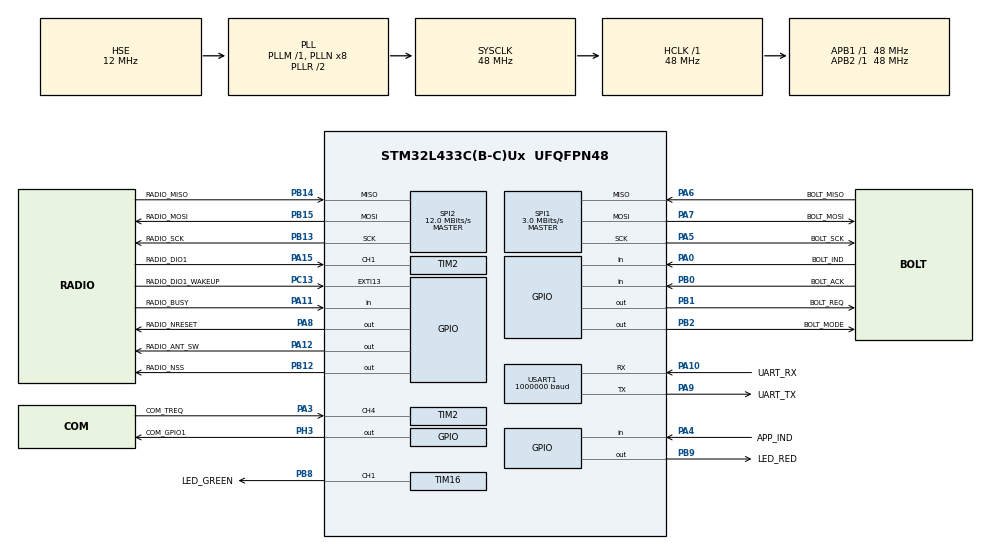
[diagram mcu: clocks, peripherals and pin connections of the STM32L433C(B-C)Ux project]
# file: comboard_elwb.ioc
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Dma.Request0=USART1_RX
Dma.Request1=USART1_TX
Dma.USART1_RX.0.Direction=DMA_PERIPH_TO_MEMORY
Dma.USART1_RX.0.Instance=DMA1_Channel5
Dma.USART1_RX.0.MemDataAlignment=DMA_MDATAALIGN_BYTE
Dma.USART1_RX.0.MemInc=DMA_MINC_ENABLE
Dma.USART1_RX.0.Mode=DMA_CIRCULAR
Dma.USART1_RX.0.PeriphDataAlignment=DMA_PDATAALIGN_BYTE
Dma.USART1_RX.0.PeriphInc=DMA_PINC_DISABLE
Dma.USART1_RX.0.Priority=DMA_PRIORITY_MEDIUM
Dma.USART1_TX.1.Direction=DMA_MEMORY_TO_PERIPH
Dma.USART1_TX.1.Instance=DMA1_Channel4
Dma.USART1_TX.1.MemDataAlignment=DMA_MDATAALIGN_BYTE
Dma.USART1_TX.1.MemInc=DMA_MINC_ENABLE
Dma.USART1_TX.1.Mode=DMA_NORMAL
Dma.USART1_TX.1.PeriphDataAlignment=DMA_PDATAALIGN_BYTE
Dma.USART1_TX.1.PeriphInc=DMA_PINC_DISABLE
Dma.USART1_TX.1.Priority=DMA_PRIORITY_MEDIUM
FREERTOS.HEAP_NUMBER=1
FREERTOS.INCLUDE_uxTaskGetStackHighWaterMark=1
FREERTOS.INCLUDE_vTaskDelete=0
FREERTOS.INCLUDE_xTaskGetCurrentTaskHandle=1
FREERTOS.MEMORY_ALLOCATION=0
FREERTOS.Tasks01=defaultTask,0,256,StartDefaultTask,Default,NULL,Dynamic,NULL,NULL
FREERTOS.configCHECK_FOR_STACK_OVERFLOW=1
FREERTOS.configGENERATE_RUN_TIME_STATS=0
FREERTOS.configMINIMAL_STACK_SIZE=256
FREERTOS.configTICK_RATE_HZ=1000
FREERTOS.configTOTAL_HEAP_SIZE=16384
FREERTOS.configUSE_IDLE_HOOK=1
FREERTOS.configUSE_MALLOC_FAILED_HOOK=1
FREERTOS.configUSE_PREEMPTION=0
FREERTOS.configUSE_STATS_FORMATTING_FUNCTIONS=0
FREERTOS.configUSE_TICKLESS_IDLE=1
FREERTOS.configUSE_TICK_HOOK=0
FREERTOS.configUSE_TRACE_FACILITY=0
IWDG.Prescaler=IWDG_PRESCALER_128
Mcu.Family=STM32L4
Mcu.Name=STM32L433C(B-C)Ux
Mcu.Package=UFQFPN48
NVIC.DMA1_Channel4_IRQn=true\:5\:0\:true\:false\:true\:true\:false\:true
NVIC.DMA1_Channel5_IRQn=true\:5\:0\:true\:false\:true\:true\:false\:true
NVIC.EXTI15_10_IRQn=true\:5\:0\:false\:false\:true\:true\:true\:true
NVIC.LPTIM1_IRQn=true\:5\:0\:false\:false\:true\:true\:true\:true
NVIC.PriorityGroup=NVIC_PRIORITYGROUP_4
NVIC.SPI1_IRQn=true\:5\:0\:false\:false\:true\:true\:true\:true
NVIC.SPI2_IRQn=true\:5\:0\:false\:false\:true\:true\:true\:true
NVIC.TIM1_UP_TIM16_IRQn=true\:0\:0\:false\:false\:true\:false\:false\:true
NVIC.TIM2_IRQn=true\:5\:0\:true\:false\:true\:true\:true\:true
NVIC.TimeBase=TIM1_UP_TIM16_IRQn
NVIC.TimeBaseIP=TIM1
NVIC.USART1_IRQn=true\:5\:0\:false\:false\:true\:true\:true\:true
PA0.GPIO_Label=BOLT_IND
PA0.Signal=GPIO_Input
PA10.GPIO_Label=UART_RX
PA10.GPIO_PuPd=GPIO_PULLUP
PA10.Mode=Asynchronous
PA10.Signal=USART1_RX
PA11.GPIO_Label=RADIO_BUSY
PA11.Signal=GPIO_Input
PA12.GPIO_Label=RADIO_ANT_SW
PA12.GPIO_Speed=GPIO_SPEED_FREQ_HIGH
PA12.PinState=GPIO_PIN_SET
PA12.Signal=GPIO_Output
PA13\ (JTMS-SWDIO).GPIO_Label=COM_PROG2
PA13\ (JTMS-SWDIO).Mode=Trace_Asynchronous_SW
PA13\ (JTMS-SWDIO).Signal=SYS_JTMS-SWDIO
PA14\ (JTCK-SWCLK).GPIO_Label=COM_PROG
PA14\ (JTCK-SWCLK).Mode=Trace_Asynchronous_SW
PA14\ (JTCK-SWCLK).Signal=SYS_JTCK-SWCLK
PA15\ (JTDI).GPIO_Label=RADIO_DIO1
PA15\ (JTDI).Signal=S_TIM2_CH1
PA3.GPIO_Label=COM_TREQ
PA3.GPIO_PuPd=GPIO_PULLDOWN
PA3.Signal=S_TIM2_CH4
PA4.GPIO_Label=APP_IND
PA4.GPIO_PuPd=GPIO_NOPULL
PA4.Signal=GPIO_Input
PA5.GPIO_Label=BOLT_SCK
PA5.GPIO_PuPd=GPIO_PULLDOWN
PA5.Mode=Full_Duplex_Master
PA5.Signal=SPI1_SCK
PA6.GPIO_Label=BOLT_MISO
PA6.GPIO_PuPd=GPIO_PULLDOWN
PA6.Mode=Full_Duplex_Master
PA6.Signal=SPI1_MISO
PA7.GPIO_Label=BOLT_MOSI
PA7.GPIO_PuPd=GPIO_PULLDOWN
PA7.Mode=Full_Duplex_Master
PA7.Signal=SPI1_MOSI
PA8.GPIO_Label=RADIO_NRESET
PA8.GPIO_ModeDefaultOutputPP=GPIO_MODE_OUTPUT_PP
PA8.GPIO_PuPd=GPIO_NOPULL
PA8.GPIO_Speed=GPIO_SPEED_FREQ_HIGH
PA8.PinState=GPIO_PIN_SET
PA8.Signal=GPIO_Output
PA9.GPIO_Label=UART_TX
PA9.GPIO_PuPd=GPIO_PULLUP
PA9.Mode=Asynchronous
PA9.Signal=USART1_TX
PB0.GPIO_Label=BOLT_ACK
PB0.GPIO_PuPd=GPIO_NOPULL
PB0.Signal=GPIO_Input
PB1.GPIO_Label=BOLT_REQ
PB1.GPIO_PuPd=GPIO_NOPULL
PB1.GPIO_Speed=GPIO_SPEED_FREQ_VERY_HIGH
PB1.Signal=GPIO_Output
PB12.GPIO_Label=RADIO_NSS
PB12.GPIO_PuPd=GPIO_NOPULL
PB12.GPIO_Speed=GPIO_SPEED_FREQ_VERY_HIGH
PB12.PinState=GPIO_PIN_SET
PB12.Signal=GPIO_Output
PB13.GPIO_Label=RADIO_SCK
PB13.GPIO_PuPd=GPIO_PULLDOWN
PB13.Mode=Full_Duplex_Master
PB13.Signal=SPI2_SCK
PB14.GPIO_Label=RADIO_MISO
PB14.GPIO_PuPd=GPIO_PULLDOWN
PB14.Mode=Full_Duplex_Master
PB14.Signal=SPI2_MISO
PB15.GPIO_Label=RADIO_MOSI
PB15.GPIO_PuPd=GPIO_PULLDOWN
PB15.Mode=Full_Duplex_Master
PB15.Signal=SPI2_MOSI
PB2.GPIO_Label=BOLT_MODE
PB2.GPIO_PuPd=GPIO_NOPULL
PB2.GPIO_Speed=GPIO_SPEED_FREQ_VERY_HIGH
PB2.Signal=GPIO_Output
PB3\ (JTDO-TRACESWO).GPIO_Label=COM_GPIO2
PB3\ (JTDO-TRACESWO).Mode=Trace_Asynchronous_SW
PB3\ (JTDO-TRACESWO).Signal=SYS_JTDO-SWO
PB8.GPIO_Label=LED_GREEN
PB8.Signal=S_TIM16_CH1
PB9.GPIO_Label=LED_RED
PB9.Signal=GPIO_Output
PC13.GPIO_Label=RADIO_DIO1_WAKEUP
PC13.Signal=GPXTI13
PC14-OSC32_IN\ (PC14).Mode=LSE-External-Oscillator
PC14-OSC32_IN\ (PC14).Signal=RCC_OSC32_IN
PC15-OSC32_OUT\ (PC15).Mode=LSE-External-Oscillator
PC15-OSC32_OUT\ (PC15).Signal=RCC_OSC32_OUT
PH0-OSC_IN\ (PH0).Mode=HSE-External-Oscillator
PH0-OSC_IN\ (PH0).Signal=RCC_OSC_IN
PH1-OSC_OUT\ (PH1).Mode=HSE-External-Oscillator
PH1-OSC_OUT\ (PH1).Signal=RCC_OSC_OUT
PH3-BOOT0.GPIO_Label=COM_GPIO1
PH3-BOOT0.Signal=GPIO_Output
ProjectManager.HeapSize=0x200
ProjectManager.StackSize=0x400
ProjectManager.TargetToolchain=STM32CubeIDE
RCC.ADCFreq_Value=48000000
RCC.AHBFreq_Value=48000000
RCC.APB1Freq_Value=48000000
RCC.APB1TimFreq_Value=48000000
RCC.APB2Freq_Value=48000000
RCC.APB2TimFreq_Value=48000000
RCC.CortexFreq_Value=48000000
RCC.HCLKFreq_Value=48000000
RCC.HSE_Timout=300
RCC.HSE_VALUE=12000000
RCC.HSI48_VALUE=48000000
RCC.HSI_VALUE=16000000
RCC.LPTIM1CLockSelection=RCC_LPTIM1CLKSOURCE_LSE
RCC.LSE_Drive_Capability=RCC_LSEDRIVE_LOW
RCC.MSI_VALUE=4000000
RCC.PLLSourceVirtual=RCC_PLLSOURCE_HSE
RCC.PREFETCH_ENABLE=0
RCC.RTCClockSelection=RCC_RTCCLKSOURCE_LSE
RCC.SYSCLKFreq_VALUE=48000000
RCC.SYSCLKSource=RCC_SYSCLKSOURCE_PLLCLK
RCC.USART1CLockSelection=RCC_USART1CLKSOURCE_HSI
RCC.USBFreq_Value=48000000
RCC.VCOOutputFreq_Value=96000000
RCC.VDD_VALUE=3
SH.S_TIM16_CH1.0=TIM16_CH1,PWM Generation1 CH1
SH.S_TIM2_CH1.0=TIM2_CH1,Input_Capture1_from_TI1
SH.S_TIM2_CH4.0=TIM2_CH4,Input_Capture4_from_TI4
SPI1.BaudRatePrescaler=SPI_BAUDRATEPRESCALER_16
SPI1.CalculateBaudRate=3.0 MBits/s
SPI1.DataSize=SPI_DATASIZE_8BIT
SPI1.Direction=SPI_DIRECTION_2LINES
SPI1.Mode=SPI_MODE_MASTER
SPI1.VirtualType=VM_MASTER
SPI2.BaudRatePrescaler=SPI_BAUDRATEPRESCALER_4
SPI2.CalculateBaudRate=12.0 MBits/s
SPI2.DataSize=SPI_DATASIZE_8BIT
SPI2.Direction=SPI_DIRECTION_2LINES
SPI2.Mode=SPI_MODE_MASTER
SPI2.VirtualType=VM_MASTER
TIM16.AutoReloadPreload=TIM_AUTORELOAD_PRELOAD_ENABLE
TIM16.Channel=TIM_CHANNEL_1
TIM16.OCIdleState_1=TIM_OCIDLESTATE_RESET
TIM16.Period=1024
TIM16.Prescaler=2 - 1
TIM2.Channel-Input_Capture1_from_TI1=TIM_CHANNEL_1
TIM2.Channel-Input_Capture4_from_TI4=TIM_CHANNEL_4
TIM2.Channel-Output\ Compare2\ No\ Output=TIM_CHANNEL_2
TIM2.Channel-Output\ Compare3\ No\ Output=TIM_CHANNEL_3
TIM2.Period=0xFFFFFFFF
TIM2.Prescaler=5
TIM2.Pulse-Output\ Compare2\ No\ Output=0xFFFFFFFF
TIM2.Pulse-Output\ Compare3\ No\ Output=0xFFFFFFFF
USART1.BaudRate=1000000
USART1.OverSampling=UART_OVERSAMPLING_16
USART1.SwapParam=ADVFEATURE_SWAP_DISABLE
USART1.VirtualMode-Asynchronous=VM_ASYNC
USART1.WordLength=WORDLENGTH_8B
VP_FREERTOS_VS_CMSIS_V1.Mode=CMSIS_V1
VP_IWDG_VS_IWDG.Mode=IWDG_Activate
VP_LPTIM1_VS_LPTIM_counterModeInternalClock.Mode=Counts__internal_clock_event_00
VP_RTC_VS_RTC_Activate.Mode=RTC_Enabled
VP_SYS_VS_tim1.Mode=TIM1
VP_TIM16_VS_ClockSourceINT.Mode=Enable_Timer
VP_TIM2_VS_ClockSourceINT.Mode=Internal
VP_TIM2_VS_no_output2.Mode=Output Compare2 No Output
VP_TIM2_VS_no_output3.Mode=Output Compare3 No Output
board=gloriaLwb_comboard

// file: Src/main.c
/* USER CODE BEGIN Header */
/**
  ******************************************************************************
  * @file           : main.c
  * @brief          : Main program body
  ******************************************************************************
  * @attention
  *
  * <h2><center>&copy; Copyright (c) 2019 STMicroelectronics.
  * All rights reserved.</center></h2>
  *
  * This software component is licensed by ST under Ultimate Liberty license
  * SLA0044, the "License"; You may not use this file except in compliance with
  * the License. You may obtain a copy of the License at:
  *                             www.st.com/SLA0044
  *
  ******************************************************************************
  */
/* USER CODE END Header */

#include "main.h"
#include "cmsis_os.h"

IWDG_HandleTypeDef hiwdg;

LPTIM_HandleTypeDef hlptim1;

RTC_HandleTypeDef hrtc;

SPI_HandleTypeDef hspi1;
SPI_HandleTypeDef hspi2;

TIM_HandleTypeDef htim2;
TIM_HandleTypeDef htim16;

UART_HandleTypeDef huart1;
DMA_HandleTypeDef hdma_usart1_rx;
DMA_HandleTypeDef hdma_usart1_tx;

osThreadId defaultTaskHandle;
/* USER CODE BEGIN PV */

nv_config_t config;

/* USER CODE END PV */

void SystemClock_Config(void);
static void MX_GPIO_Init(void);
static void MX_DMA_Init(void);
static void MX_SPI2_Init(void);
static void MX_SPI1_Init(void);
static void MX_USART1_UART_Init(void);
static void MX_TIM2_Init(void);
static void MX_TIM16_Init(void);
static void MX_LPTIM1_Init(void);
static void MX_IWDG_Init(void);
static void MX_RTC_Init(void);
void StartDefaultTask(void const * argument);

/* USER CODE BEGIN 0 */
void load_config(void)
{
  /* load the config struct */
  if (!nvcfg_load(&config) || config.node_id == 0 || config.node_id == FLOCKLAB_NODE_ID || (config.node_id != NODE_ID && NODE_ID != 0 && NODE_ID != FLOCKLAB_NODE_ID)) {
    LOG_WARNING("failed to load config (default config applied)");
    memset(&config, 0, sizeof(nv_config_t));
    config.node_id = NODE_ID;
  } else {
    LOG_INFO("config loaded (node ID: %u, reset cnt: %u, bb sched: %u/%u)", config.node_id, config.rst_cnt, config.bb_en.starttime, config.bb_en.period);
    config.rst_cnt++;
  }
#if WRITE_NODE_ID
  config.node_id = NODE_ID;
  LOG_INFO("node ID set to %d", NODE_ID);
#endif /* WRITE_NODE_ID */
  if (!nvcfg_save(&config)) {
    LOG_ERROR("failed to save config");
  }
}

bool deepsleep_prepare(void)
{
#if BOLT_ENABLE
  /* configure BOLT TREQ in EXTI mode */
  GPIO_InitTypeDef GPIO_InitStruct = { 0 };
  GPIO_InitStruct.Pin = COM_TREQ_Pin;
  GPIO_InitStruct.Mode = GPIO_MODE_IT_RISING;
  GPIO_InitStruct.Pull = GPIO_PULLDOWN;
  HAL_GPIO_Init(COM_TREQ_GPIO_Port, &GPIO_InitStruct);
  HAL_NVIC_SetPriority(EXTI3_IRQn, 5, 0);
  HAL_NVIC_EnableIRQ(EXTI3_IRQn);
#endif /* BOLT_ENABLE */

  return true;
}

void deepsleep_wakeup(void)
{
#if BOLT_ENABLE
  /* disable BOLT TREQ EXTI */
  HAL_NVIC_DisableIRQ(EXTI3_IRQn);
  __HAL_GPIO_EXTI_CLEAR_IT(COM_TREQ_Pin);
#endif /* BOLT_ENABLE */
}
/* USER CODE END 0 */

int main(void)
{
  /* USER CODE BEGIN 1 */

  system_boot();

  /* USER CODE END 1 */

  /* MCU Configuration--------------------------------------------------------*/

  /* Reset of all peripherals, Initializes the Flash interface and the Systick. */
  HAL_Init();

  /* Configure the system clock */
  SystemClock_Config();

  /* Initialize all configured peripherals */
  MX_GPIO_Init();
  MX_DMA_Init();
  MX_SPI2_Init();
  MX_SPI1_Init();
  MX_USART1_UART_Init();
  MX_TIM2_Init();
  MX_TIM16_Init();
  MX_LPTIM1_Init();
  MX_IWDG_Init();
  MX_RTC_Init();
  /* USER CODE BEGIN 2 */

  /* print firmware and compiler info as well as the node ID */
  LOG_RAW(LOG_NEWLINE);
  LOG_INFO("firmware: %s v%u.%u.%u (%s)", FW_NAME, FW_VERSION_MAJOR, FW_VERSION_MINOR, FW_VERSION_PATCH, GIT_REV);
  LOG_INFO("compiler version: %s", __VERSION__);
  LOG_INFO("compile date: %s  %s", __DATE__, __TIME__);
  LOG_INFO("node ID: %u", NODE_ID);
  LOG_INFO("reset flag: %s", system_get_reset_cause(0));
  LOG_INFO("radio config: %.3fMHz (ch %d), modulation %d, %ddBm", (float)(radio_bands[GLORIA_INTERFACE_RF_BAND].centerFrequency / 1000000.0f), GLORIA_INTERFACE_RF_BAND, GLORIA_INTERFACE_MODULATION, GLORIA_INTERFACE_POWER);

#if !FLOCKLAB
  load_config();
#endif /* FLOCKLAB */

  /* set event target depending on role */
  if (EVENT_MSG_TARGET == EVENT_MSG_TARGET_NETWORK)
  {
    /* host should never send events to the network */
    set_event_target(IS_HOST ? EVENT_MSG_TARGET_BOLT : EVENT_MSG_TARGET_NETWORK);
  }
  else
  {
    set_event_target(EVENT_MSG_TARGET);
  }

  /* initialize system drivers */
  system_init();

  /* initialize state machine for handling low-power modes */
  lpm_init(deepsleep_prepare, deepsleep_wakeup);

  /* USER CODE END 2 */

  /* Create the thread(s) */
  /* definition and creation of defaultTask */
  osThreadDef(defaultTask, StartDefaultTask, osPriorityNormal, 0, 256);
  defaultTaskHandle = osThreadCreate(osThread(defaultTask), NULL);

  /* USER CODE BEGIN RTOS_THREADS */
  /* FreeRTOS tasks, queues, etc. */
  rtos_init();

  /* USER CODE END RTOS_THREADS */

  /* Start scheduler */
  osKernelStart();

  /* We should never get here as control is now taken by the scheduler */
  /* Infinite loop */
  while (1)
  {
  }

}

void SystemClock_Config(void)
{
  RCC_OscInitTypeDef RCC_OscInitStruct = {0};
  RCC_ClkInitTypeDef RCC_ClkInitStruct = {0};
  RCC_PeriphCLKInitTypeDef PeriphClkInit = {0};

  /** Configure LSE Drive Capability
  */
  HAL_PWR_EnableBkUpAccess();
  __HAL_RCC_LSEDRIVE_CONFIG(RCC_LSEDRIVE_LOW);
  /** Initializes the CPU, AHB and APB busses clocks
  */
  RCC_OscInitStruct.OscillatorType = RCC_OSCILLATORTYPE_HSI|RCC_OSCILLATORTYPE_LSI
                              |RCC_OSCILLATORTYPE_HSE|RCC_OSCILLATORTYPE_LSE;
  RCC_OscInitStruct.HSEState = RCC_HSE_ON;
  RCC_OscInitStruct.LSEState = RCC_LSE_ON;
  RCC_OscInitStruct.HSIState = RCC_HSI_ON;
  RCC_OscInitStruct.HSICalibrationValue = RCC_HSICALIBRATION_DEFAULT;
  RCC_OscInitStruct.LSIState = RCC_LSI_ON;
  RCC_OscInitStruct.PLL.PLLState = RCC_PLL_ON;
  RCC_OscInitStruct.PLL.PLLSource = RCC_PLLSOURCE_HSE;
  RCC_OscInitStruct.PLL.PLLM = 1;
  RCC_OscInitStruct.PLL.PLLN = 8;
  RCC_OscInitStruct.PLL.PLLP = RCC_PLLP_DIV7;
  RCC_OscInitStruct.PLL.PLLQ = RCC_PLLQ_DIV2;
  RCC_OscInitStruct.PLL.PLLR = RCC_PLLR_DIV2;
  if (HAL_RCC_OscConfig(&RCC_OscInitStruct) != HAL_OK)
  {
    Error_Handler();
  }
  /** Initializes the CPU, AHB and APB busses clocks
  */
  RCC_ClkInitStruct.ClockType = RCC_CLOCKTYPE_HCLK|RCC_CLOCKTYPE_SYSCLK
                              |RCC_CLOCKTYPE_PCLK1|RCC_CLOCKTYPE_PCLK2;
  RCC_ClkInitStruct.SYSCLKSource = RCC_SYSCLKSOURCE_PLLCLK;
  RCC_ClkInitStruct.AHBCLKDivider = RCC_SYSCLK_DIV1;
  RCC_ClkInitStruct.APB1CLKDivider = RCC_HCLK_DIV1;
  RCC_ClkInitStruct.APB2CLKDivider = RCC_HCLK_DIV1;

  if (HAL_RCC_ClockConfig(&RCC_ClkInitStruct, FLASH_LATENCY_2) != HAL_OK)
  {
    Error_Handler();
  }
  PeriphClkInit.PeriphClockSelection = RCC_PERIPHCLK_RTC|RCC_PERIPHCLK_USART1
                              |RCC_PERIPHCLK_LPTIM1;
  PeriphClkInit.Usart1ClockSelection = RCC_USART1CLKSOURCE_HSI;
  PeriphClkInit.Lptim1ClockSelection = RCC_LPTIM1CLKSOURCE_LSE;
  PeriphClkInit.RTCClockSelection = RCC_RTCCLKSOURCE_LSE;
  if (HAL_RCCEx_PeriphCLKConfig(&PeriphClkInit) != HAL_OK)
  {
    Error_Handler();
  }
  /** Configure the main internal regulator output voltage
  */
  if (HAL_PWREx_ControlVoltageScaling(PWR_REGULATOR_VOLTAGE_SCALE1) != HAL_OK)
  {
    Error_Handler();
  }
}

static void MX_IWDG_Init(void)
{

  hiwdg.Instance = IWDG;
  hiwdg.Init.Prescaler = IWDG_PRESCALER_128;
  hiwdg.Init.Window = 4095;
  hiwdg.Init.Reload = 4095;
  if (HAL_IWDG_Init(&hiwdg) != HAL_OK)
  {
    Error_Handler();
  }

}

static void MX_LPTIM1_Init(void)
{

  hlptim1.Instance = LPTIM1;
  hlptim1.Init.Clock.Source = LPTIM_CLOCKSOURCE_APBCLOCK_LPOSC;
  hlptim1.Init.Clock.Prescaler = LPTIM_PRESCALER_DIV1;
  hlptim1.Init.Trigger.Source = LPTIM_TRIGSOURCE_SOFTWARE;
  hlptim1.Init.OutputPolarity = LPTIM_OUTPUTPOLARITY_HIGH;
  hlptim1.Init.UpdateMode = LPTIM_UPDATE_IMMEDIATE;
  hlptim1.Init.CounterSource = LPTIM_COUNTERSOURCE_INTERNAL;
  hlptim1.Init.Input1Source = LPTIM_INPUT1SOURCE_GPIO;
  hlptim1.Init.Input2Source = LPTIM_INPUT2SOURCE_GPIO;
  if (HAL_LPTIM_Init(&hlptim1) != HAL_OK)
  {
    Error_Handler();
  }
  /* USER CODE BEGIN LPTIM1_Init 2 */
  __HAL_LPTIM_ENABLE_IT(&hlptim1, LPTIM_IT_CMPM);     /* must be enabled before starting the timer */
  HAL_LPTIM_Counter_Start_IT(&hlptim1, 0xffff);
  /* USER CODE END LPTIM1_Init 2 */

}

static void MX_RTC_Init(void)
{

  /** Initialize RTC Only
  */
  hrtc.Instance = RTC;
  hrtc.Init.HourFormat = RTC_HOURFORMAT_24;
  hrtc.Init.AsynchPrediv = 127;
  hrtc.Init.SynchPrediv = 255;
  hrtc.Init.OutPut = RTC_OUTPUT_DISABLE;
  hrtc.Init.OutPutRemap = RTC_OUTPUT_REMAP_NONE;
  hrtc.Init.OutPutPolarity = RTC_OUTPUT_POLARITY_HIGH;
  hrtc.Init.OutPutType = RTC_OUTPUT_TYPE_OPENDRAIN;
  if (HAL_RTC_Init(&hrtc) != HAL_OK)
  {
    Error_Handler();
  }

}

static void MX_SPI1_Init(void)
{

  /* SPI1 parameter configuration*/
  hspi1.Instance = SPI1;
  hspi1.Init.Mode = SPI_MODE_MASTER;
  hspi1.Init.Direction = SPI_DIRECTION_2LINES;
  hspi1.Init.DataSize = SPI_DATASIZE_8BIT;
  hspi1.Init.CLKPolarity = SPI_POLARITY_LOW;
  hspi1.Init.CLKPhase = SPI_PHASE_1EDGE;
  hspi1.Init.NSS = SPI_NSS_SOFT;
  hspi1.Init.BaudRatePrescaler = SPI_BAUDRATEPRESCALER_16;
  hspi1.Init.FirstBit = SPI_FIRSTBIT_MSB;
  hspi1.Init.TIMode = SPI_TIMODE_DISABLE;
  hspi1.Init.CRCCalculation = SPI_CRCCALCULATION_DISABLE;
  hspi1.Init.CRCPolynomial = 7;
  hspi1.Init.CRCLength = SPI_CRC_LENGTH_DATASIZE;
  hspi1.Init.NSSPMode = SPI_NSS_PULSE_ENABLE;
  if (HAL_SPI_Init(&hspi1) != HAL_OK)
  {
    Error_Handler();
  }

}

static void MX_SPI2_Init(void)
{

  /* SPI2 parameter configuration*/
  hspi2.Instance = SPI2;
  hspi2.Init.Mode = SPI_MODE_MASTER;
  hspi2.Init.Direction = SPI_DIRECTION_2LINES;
  hspi2.Init.DataSize = SPI_DATASIZE_8BIT;
  hspi2.Init.CLKPolarity = SPI_POLARITY_LOW;
  hspi2.Init.CLKPhase = SPI_PHASE_1EDGE;
  hspi2.Init.NSS = SPI_NSS_SOFT;
  hspi2.Init.BaudRatePrescaler = SPI_BAUDRATEPRESCALER_4;
  hspi2.Init.FirstBit = SPI_FIRSTBIT_MSB;
  hspi2.Init.TIMode = SPI_TIMODE_DISABLE;
  hspi2.Init.CRCCalculation = SPI_CRCCALCULATION_DISABLE;
  hspi2.Init.CRCPolynomial = 7;
  hspi2.Init.CRCLength = SPI_CRC_LENGTH_DATASIZE;
  hspi2.Init.NSSPMode = SPI_NSS_PULSE_ENABLE;
  if (HAL_SPI_Init(&hspi2) != HAL_OK)
  {
    Error_Handler();
  }

}

static void MX_TIM2_Init(void)
{

  TIM_ClockConfigTypeDef sClockSourceConfig = {0};
  TIM_MasterConfigTypeDef sMasterConfig = {0};
  TIM_IC_InitTypeDef sConfigIC = {0};
  TIM_OC_InitTypeDef sConfigOC = {0};

  htim2.Instance = TIM2;
  htim2.Init.Prescaler = 5;
  htim2.Init.CounterMode = TIM_COUNTERMODE_UP;
  htim2.Init.Period = 0xFFFFFFFF;
  htim2.Init.ClockDivision = TIM_CLOCKDIVISION_DIV1;
  htim2.Init.AutoReloadPreload = TIM_AUTORELOAD_PRELOAD_DISABLE;
  if (HAL_TIM_Base_Init(&htim2) != HAL_OK)
  {
    Error_Handler();
  }
  sClockSourceConfig.ClockSource = TIM_CLOCKSOURCE_INTERNAL;
  if (HAL_TIM_ConfigClockSource(&htim2, &sClockSourceConfig) != HAL_OK)
  {
    Error_Handler();
  }
  if (HAL_TIM_IC_Init(&htim2) != HAL_OK)
  {
    Error_Handler();
  }
  if (HAL_TIM_OC_Init(&htim2) != HAL_OK)
  {
    Error_Handler();
  }
  sMasterConfig.MasterOutputTrigger = TIM_TRGO_RESET;
  sMasterConfig.MasterSlaveMode = TIM_MASTERSLAVEMODE_DISABLE;
  if (HAL_TIMEx_MasterConfigSynchronization(&htim2, &sMasterConfig) != HAL_OK)
  {
    Error_Handler();
  }
  sConfigIC.ICPolarity = TIM_INPUTCHANNELPOLARITY_RISING;
  sConfigIC.ICSelection = TIM_ICSELECTION_DIRECTTI;
  sConfigIC.ICPrescaler = TIM_ICPSC_DIV1;
  sConfigIC.ICFilter = 0;
  if (HAL_TIM_IC_ConfigChannel(&htim2, &sConfigIC, TIM_CHANNEL_1) != HAL_OK)
  {
    Error_Handler();
  }
  sConfigOC.OCMode = TIM_OCMODE_TIMING;
  sConfigOC.Pulse = 0xFFFFFFFF;
  sConfigOC.OCPolarity = TIM_OCPOLARITY_HIGH;
  sConfigOC.OCFastMode = TIM_OCFAST_DISABLE;
  if (HAL_TIM_OC_ConfigChannel(&htim2, &sConfigOC, TIM_CHANNEL_2) != HAL_OK)
  {
    Error_Handler();
  }
  if (HAL_TIM_OC_ConfigChannel(&htim2, &sConfigOC, TIM_CHANNEL_3) != HAL_OK)
  {
    Error_Handler();
  }
  if (HAL_TIM_IC_ConfigChannel(&htim2, &sConfigIC, TIM_CHANNEL_4) != HAL_OK)
  {
    Error_Handler();
  }
  /* USER CODE BEGIN TIM2_Init 2 */
  __HAL_TIM_ENABLE_IT(&htim2, TIM_IT_UPDATE);
  /* USER CODE END TIM2_Init 2 */

}

static void MX_TIM16_Init(void)
{

  TIM_OC_InitTypeDef sConfigOC = {0};
  TIM_BreakDeadTimeConfigTypeDef sBreakDeadTimeConfig = {0};

  htim16.Instance = TIM16;
  htim16.Init.Prescaler = 2 - 1;
  htim16.Init.CounterMode = TIM_COUNTERMODE_UP;
  htim16.Init.Period = 1024;
  htim16.Init.ClockDivision = TIM_CLOCKDIVISION_DIV1;
  htim16.Init.RepetitionCounter = 0;
  htim16.Init.AutoReloadPreload = TIM_AUTORELOAD_PRELOAD_ENABLE;
  if (HAL_TIM_Base_Init(&htim16) != HAL_OK)
  {
    Error_Handler();
  }
  if (HAL_TIM_PWM_Init(&htim16) != HAL_OK)
  {
    Error_Handler();
  }
  sConfigOC.OCMode = TIM_OCMODE_PWM1;
  sConfigOC.Pulse = 0;
  sConfigOC.OCPolarity = TIM_OCPOLARITY_HIGH;
  sConfigOC.OCNPolarity = TIM_OCNPOLARITY_HIGH;
  sConfigOC.OCFastMode = TIM_OCFAST_DISABLE;
  sConfigOC.OCIdleState = TIM_OCIDLESTATE_RESET;
  sConfigOC.OCNIdleState = TIM_OCNIDLESTATE_RESET;
  if (HAL_TIM_PWM_ConfigChannel(&htim16, &sConfigOC, TIM_CHANNEL_1) != HAL_OK)
  {
    Error_Handler();
  }
  sBreakDeadTimeConfig.OffStateRunMode = TIM_OSSR_DISABLE;
  sBreakDeadTimeConfig.OffStateIDLEMode = TIM_OSSI_DISABLE;
  sBreakDeadTimeConfig.LockLevel = TIM_LOCKLEVEL_OFF;
  sBreakDeadTimeConfig.DeadTime = 0;
  sBreakDeadTimeConfig.BreakState = TIM_BREAK_DISABLE;
  sBreakDeadTimeConfig.BreakPolarity = TIM_BREAKPOLARITY_HIGH;
  sBreakDeadTimeConfig.AutomaticOutput = TIM_AUTOMATICOUTPUT_DISABLE;
  if (HAL_TIMEx_ConfigBreakDeadTime(&htim16, &sBreakDeadTimeConfig) != HAL_OK)
  {
    Error_Handler();
  }
  HAL_TIM_MspPostInit(&htim16);

}

static void MX_USART1_UART_Init(void)
{

  huart1.Instance = USART1;
  huart1.Init.BaudRate = 1000000;
  huart1.Init.WordLength = UART_WORDLENGTH_8B;
  huart1.Init.StopBits = UART_STOPBITS_1;
  huart1.Init.Parity = UART_PARITY_NONE;
  huart1.Init.Mode = UART_MODE_TX_RX;
  huart1.Init.HwFlowCtl = UART_HWCONTROL_NONE;
  huart1.Init.OverSampling = UART_OVERSAMPLING_16;
  huart1.Init.OneBitSampling = UART_ONE_BIT_SAMPLE_DISABLE;
  huart1.AdvancedInit.AdvFeatureInit = UART_ADVFEATURE_NO_INIT;
  if (HAL_UART_Init(&huart1) != HAL_OK)
  {
    Error_Handler();
  }
  /* USER CODE BEGIN USART1_Init 2 */
#if FLOCKLAB
  /* reduce baudrate to avoid corrupted output */
  huart1.Init.BaudRate = 460800;
  if (HAL_UART_Init(&huart1) != HAL_OK) {
    Error_Handler();
  }
#endif /* FLOCKLAB */
  /* USER CODE END USART1_Init 2 */

}

static void MX_DMA_Init(void)
{

  /* DMA controller clock enable */
  __HAL_RCC_DMA1_CLK_ENABLE();

  /* DMA interrupt init */
  /* DMA1_Channel4_IRQn interrupt configuration */
  HAL_NVIC_SetPriority(DMA1_Channel4_IRQn, 5, 0);
  HAL_NVIC_EnableIRQ(DMA1_Channel4_IRQn);
  /* DMA1_Channel5_IRQn interrupt configuration */
  HAL_NVIC_SetPriority(DMA1_Channel5_IRQn, 5, 0);
  HAL_NVIC_EnableIRQ(DMA1_Channel5_IRQn);

}

static void MX_GPIO_Init(void)
{
  GPIO_InitTypeDef GPIO_InitStruct = {0};

  /* GPIO Ports Clock Enable */
  __HAL_RCC_GPIOC_CLK_ENABLE();
  __HAL_RCC_GPIOH_CLK_ENABLE();
  __HAL_RCC_GPIOA_CLK_ENABLE();
  __HAL_RCC_GPIOB_CLK_ENABLE();

  /*Configure GPIO pin Output Level */
  HAL_GPIO_WritePin(GPIOB, BOLT_REQ_Pin|BOLT_MODE_Pin|LED_RED_Pin, GPIO_PIN_RESET);

  /*Configure GPIO pin Output Level */
  HAL_GPIO_WritePin(RADIO_NSS_GPIO_Port, RADIO_NSS_Pin, GPIO_PIN_SET);

  /*Configure GPIO pin Output Level */
  HAL_GPIO_WritePin(GPIOA, RADIO_NRESET_Pin|RADIO_ANT_SW_Pin, GPIO_PIN_SET);

  /*Configure GPIO pin Output Level */
  HAL_GPIO_WritePin(COM_GPIO1_GPIO_Port, COM_GPIO1_Pin, GPIO_PIN_RESET);

  /*Configure GPIO pin : RADIO_DIO1_WAKEUP_Pin */
  GPIO_InitStruct.Pin = RADIO_DIO1_WAKEUP_Pin;
  GPIO_InitStruct.Mode = GPIO_MODE_IT_RISING;
  GPIO_InitStruct.Pull = GPIO_NOPULL;
  HAL_GPIO_Init(RADIO_DIO1_WAKEUP_GPIO_Port, &GPIO_InitStruct);

  /*Configure GPIO pins : BOLT_IND_Pin APP_IND_Pin RADIO_BUSY_Pin */
  GPIO_InitStruct.Pin = BOLT_IND_Pin|APP_IND_Pin|RADIO_BUSY_Pin;
  GPIO_InitStruct.Mode = GPIO_MODE_INPUT;
  GPIO_InitStruct.Pull = GPIO_NOPULL;
  HAL_GPIO_Init(GPIOA, &GPIO_InitStruct);

  /*Configure GPIO pins : PA1 PA2 */
  GPIO_InitStruct.Pin = GPIO_PIN_1|GPIO_PIN_2;
  GPIO_InitStruct.Mode = GPIO_MODE_ANALOG;
  GPIO_InitStruct.Pull = GPIO_NOPULL;
  HAL_GPIO_Init(GPIOA, &GPIO_InitStruct);

  /*Configure GPIO pin : BOLT_ACK_Pin */
  GPIO_InitStruct.Pin = BOLT_ACK_Pin;
  GPIO_InitStruct.Mode = GPIO_MODE_INPUT;
  GPIO_InitStruct.Pull = GPIO_NOPULL;
  HAL_GPIO_Init(BOLT_ACK_GPIO_Port, &GPIO_InitStruct);

  /*Configure GPIO pins : BOLT_REQ_Pin BOLT_MODE_Pin RADIO_NSS_Pin */
  GPIO_InitStruct.Pin = BOLT_REQ_Pin|BOLT_MODE_Pin|RADIO_NSS_Pin;
  GPIO_InitStruct.Mode = GPIO_MODE_OUTPUT_PP;
  GPIO_InitStruct.Pull = GPIO_NOPULL;
  GPIO_InitStruct.Speed = GPIO_SPEED_FREQ_VERY_HIGH;
  HAL_GPIO_Init(GPIOB, &GPIO_InitStruct);

  /*Configure GPIO pins : PB10 PB11 PB4 PB5
                           PB6 PB7 */
  GPIO_InitStruct.Pin = GPIO_PIN_10|GPIO_PIN_11|GPIO_PIN_4|GPIO_PIN_5
                          |GPIO_PIN_6|GPIO_PIN_7;
  GPIO_InitStruct.Mode = GPIO_MODE_ANALOG;
  GPIO_InitStruct.Pull = GPIO_NOPULL;
  HAL_GPIO_Init(GPIOB, &GPIO_InitStruct);

  /*Configure GPIO pins : RADIO_NRESET_Pin RADIO_ANT_SW_Pin */
  GPIO_InitStruct.Pin = RADIO_NRESET_Pin|RADIO_ANT_SW_Pin;
  GPIO_InitStruct.Mode = GPIO_MODE_OUTPUT_PP;
  GPIO_InitStruct.Pull = GPIO_NOPULL;
  GPIO_InitStruct.Speed = GPIO_SPEED_FREQ_HIGH;
  HAL_GPIO_Init(GPIOA, &GPIO_InitStruct);

  /*Configure GPIO pin : COM_GPIO1_Pin */
  GPIO_InitStruct.Pin = COM_GPIO1_Pin;
  GPIO_InitStruct.Mode = GPIO_MODE_OUTPUT_PP;
  GPIO_InitStruct.Pull = GPIO_NOPULL;
  GPIO_InitStruct.Speed = GPIO_SPEED_FREQ_LOW;
  HAL_GPIO_Init(COM_GPIO1_GPIO_Port, &GPIO_InitStruct);

  /*Configure GPIO pin : LED_RED_Pin */
  GPIO_InitStruct.Pin = LED_RED_Pin;
  GPIO_InitStruct.Mode = GPIO_MODE_OUTPUT_PP;
  GPIO_InitStruct.Pull = GPIO_NOPULL;
  GPIO_InitStruct.Speed = GPIO_SPEED_FREQ_LOW;
  HAL_GPIO_Init(LED_RED_GPIO_Port, &GPIO_InitStruct);

  /* EXTI interrupt init*/
  HAL_NVIC_SetPriority(EXTI15_10_IRQn, 5, 0);
  HAL_NVIC_EnableIRQ(EXTI15_10_IRQn);

}

void StartDefaultTask(void const * argument)
{
  /* USER CODE BEGIN 5 */
  vTaskSuspend(NULL);       // we don't need this task
  /* Infinite loop */
  for(;;)
  {
    osDelay(1);
  }
  /* USER CODE END 5 */
}

 /**
  * @brief  Period elapsed callback in non blocking mode
  * @note   This function is called  when TIM1 interrupt took place, inside
  * HAL_TIM_IRQHandler(). It makes a direct call to HAL_IncTick() to increment
  * a global variable "uwTick" used as application time base.
  * @param  htim : TIM handle
  * @retval None
  */
void HAL_TIM_PeriodElapsedCallback(TIM_HandleTypeDef *htim)
{
  if (htim->Instance == TIM1) {
    HAL_IncTick();
  }
  /* USER CODE BEGIN Callback 1 */
  if (htim->Instance == TIM2) {
    hs_timer_handle_overflow(htim);
  }
  /* USER CODE END Callback 1 */
}

void Error_Handler(void)
{
  /* USER CODE BEGIN Error_Handler_Debug */
  led_on(LED_EVENT);
  while (1);
  /* USER CODE END Error_Handler_Debug */
}

/************************ (C) COPYRIGHT STMicroelectronics *****END OF FILE****/

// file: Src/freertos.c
/* USER CODE BEGIN Header */
/**
  ******************************************************************************
  * File Name          : freertos.c
  * Description        : Code for freertos applications
  ******************************************************************************
  * @attention
  *
  * <h2><center>&copy; Copyright (c) 2019 STMicroelectronics.
  * All rights reserved.</center></h2>
  *
  * This software component is licensed by ST under Ultimate Liberty license
  * SLA0044, the "License"; You may not use this file except in compliance with
  * the License. You may obtain a copy of the License at:
  *                             www.st.com/SLA0044
  *
  ******************************************************************************
  */
/* USER CODE END Header */

#include "FreeRTOS.h"
#include "task.h"
#include "main.h"

/* USER CODE BEGIN Includes */
#include "cmsis_os.h"

/* USER CODE END Includes */

/* USER CODE BEGIN PM */
#ifndef CPU_OFF_IND
#define CPU_OFF_IND()
#define CPU_ON_IND()
#endif /* CPU_OFF_IND */
#ifndef IDLE_TASK_RESUMED
#define IDLE_TASK_RESUMED()
#define IDLE_TASK_SUSPENDED()
#endif /* IDLE_TASK_IND */
/* USER CODE END PM */

/* USER CODE BEGIN Variables */

/* RTOS Task Handles */
TaskHandle_t xTaskHandle_pre  = NULL;
TaskHandle_t xTaskHandle_com  = NULL;
TaskHandle_t xTaskHandle_post = NULL;
TaskHandle_t xTaskHandle_idle = NULL;
/* RTOS Queue Handles */
QueueHandle_t xQueueHandle_tx = NULL;   /* holds the messages to be transmitted over the eLWB network */
QueueHandle_t xQueueHandle_rx = NULL;   /* holds the messages received from the eLWB network */
QueueHandle_t xQueueHandle_retransmit = NULL;   /* required by the eLWB for retransmitting packets (D-ACK feature) */
/* Variables */
bool     round_finished   = false;
uint64_t active_time      = 0;
uint64_t wakeup_timestamp = 0;
uint64_t last_reset       = 0;

/* USER CODE END Variables */

/* USER CODE BEGIN FunctionPrototypes */

extern void vTask_pre(void* argument);
extern void vTask_com(void* argument);
extern void vTask_post(void* argument);

/* USER CODE END FunctionPrototypes */

/* Pre/Post sleep processing prototypes */
void PreSleepProcessing(uint32_t *ulExpectedIdleTime);
void PostSleepProcessing(uint32_t *ulExpectedIdleTime);

/* Hook prototypes */
void vApplicationIdleHook(void);
void vApplicationStackOverflowHook(xTaskHandle xTask, signed char *pcTaskName);
void vApplicationMallocFailedHook(void);

/* USER CODE BEGIN 2 */
void vApplicationIdleHook( void )
{
   /* vApplicationIdleHook() will only be called if configUSE_IDLE_HOOK is set
   to 1 in FreeRTOSConfig.h. It will be called on each iteration of the idle
   task. It is essential that code added to this hook function never attempts
   to block in any way (for example, call xQueueReceive() with a block time
   specified, or call vTaskDelay()). If the application makes use of the
   vTaskDelete() API function (as this demo application does) then it is also
   important that vApplicationIdleHook() is permitted to return to its calling
   function, because it is the responsibility of the idle task to clean up
   memory allocated by the kernel to any task that has since been deleted. */

  IDLE_TASK_RESUMED();

  if (!xTaskHandle_idle) {
    xTaskHandle_idle = xTaskGetCurrentTaskHandle();
  }

  /* if the application ends up in the RESET state, something went wrong -> reset the MCU */
  if (lpm_get_opmode() == OP_MODE_RESET) {
    NVIC_SystemReset();
  }

  IDLE_TASK_SUSPENDED();
}
/* USER CODE END 2 */

/* USER CODE BEGIN 4 */
void vApplicationStackOverflowHook(xTaskHandle xTask, signed char *pcTaskName)
{
   /* Run time stack overflow checking is performed if
   configCHECK_FOR_STACK_OVERFLOW is defined to 1 or 2. This hook function is
   called if a stack overflow is detected. */

  (void)pcTaskName;
  (void)xTask;
  FATAL_ERROR("--- stack overflow detected! ---\r\n");
}
/* USER CODE END 4 */

/* USER CODE BEGIN 5 */
void vApplicationMallocFailedHook(void)
{
   /* vApplicationMallocFailedHook() will only be called if
   configUSE_MALLOC_FAILED_HOOK is set to 1 in FreeRTOSConfig.h. It is a hook
   function that will get called if a call to pvPortMalloc() fails.
   pvPortMalloc() is called internally by the kernel whenever a task, queue,
   timer or semaphore is created. It is also called by various parts of the
   demo application. If heap_1.c or heap_2.c are used, then the size of the
   heap available to pvPortMalloc() is defined by configTOTAL_HEAP_SIZE in
   FreeRTOSConfig.h, and the xPortGetFreeHeapSize() API function can be used
   to query the size of free heap space that remains (although it does not
   provide information on how the remaining heap might be fragmented). */
  FATAL_ERROR("--- malloc failed ---\r\n");
}
/* USER CODE END 5 */

/* USER CODE BEGIN PREPOSTSLEEP */
void PreSleepProcessing(uint32_t *ulExpectedIdleTime)
{
  /* interrupts are disabled within this function */

  /* note: for tickless idle, the HAL tick needs to be suspended! */
  lpm_prepare();

  /* duty cycle measurement */
  active_time += lptimer_now() - wakeup_timestamp;
  CPU_OFF_IND();
}

void PostSleepProcessing(uint32_t *ulExpectedIdleTime)
{
  /* interrupts are disabled within this function */

  CPU_ON_IND();
  wakeup_timestamp = lptimer_now();    /* reset duty cycle timer */

  lpm_resume();
}
/* USER CODE END PREPOSTSLEEP */

/* USER CODE BEGIN Application */
/* RTOS functions ------------------------------------------------------------*/
void rtos_init(void)
{
  /* create RTOS queues */
  xQueueHandle_rx = xQueueCreate(RECEIVE_QUEUE_SIZE, DPP_MSG_PKT_LEN);
  if (xQueueHandle_rx == NULL) {
    Error_Handler();
  }
  xQueueHandle_tx = xQueueCreate(TRANSMIT_QUEUE_SIZE, DPP_MSG_PKT_LEN);
  if (xQueueHandle_tx == NULL) {
    Error_Handler();
  }
  xQueueHandle_retransmit = xQueueCreate(TRANSMIT_QUEUE_SIZE, DPP_MSG_PKT_LEN);
  if (xQueueHandle_retransmit == NULL) {
    Error_Handler();
  }

  /* create RTOS tasks */
  /* max. priority is (configMAX_PRIORITIES - 1), higher numbers = higher
   * priority; idle task has priority 0 */
  /* pre communication round task */
  if (xTaskCreate(vTask_pre,
                  "preTask",
                  PRE_TASK_STACK_SIZE,
                  NULL,
                  tskIDLE_PRIORITY + 2,
                  &xTaskHandle_pre) != pdPASS)     { Error_Handler(); }
  if (xTaskCreate(vTask_post,
                  "postTask",
                  POST_TASK_STACK_SIZE,
                  NULL,
                  tskIDLE_PRIORITY + 1,            /* lowest priority right after the idle task */
                  &xTaskHandle_post) != pdPASS)    { Error_Handler(); }
  if (xTaskCreate(vTask_com,
                  "elwbTask",
                  COM_TASK_STACK_SIZE,
                  NULL,
                  configMAX_PRIORITIES - 1,        /* highest priority task */
                  &xTaskHandle_com) != pdPASS)     { Error_Handler(); }
}

uint32_t rtos_get_cpu_dc(void)
{
  return (uint32_t)((active_time * 10000) / (lptimer_now() - last_reset));
}

void rtos_reset_cpu_dc(void)
{
  last_reset = lptimer_now();
  active_time = 0;
}

/* returns the highest watermark value */
uint32_t rtos_check_stack_usage(void)
{
  static unsigned long idleTaskStackWM = 0,
#if BOLT_ENABLE
                       preTaskStackWM  = 0,
#endif /* BOLT_ENABLE */
                       comTaskStackWM  = 0,
                       postTaskStackWM = 0;

  uint32_t max_wm = 0;

  unsigned long idleSWM = configMINIMAL_STACK_SIZE - (uxTaskGetStackHighWaterMark(xTaskHandle_idle));
  if (idleSWM > idleTaskStackWM) {
    idleTaskStackWM = idleSWM;
    uint32_t usage = idleTaskStackWM * 100 / configMINIMAL_STACK_SIZE;
    if (usage > STACK_WARNING_THRESHOLD) {
      LOG_WARNING("stack watermark of idle task reached %u%%", usage);
      EVENT_WARNING(EVENT_SX1262_STACK_WM, usage);
    } else {
      LOG_INFO("stack watermark of idle task increased to %u%%", usage);
    }
  }
  max_wm = idleTaskStackWM;

#if BOLT_ENABLE
  unsigned long preSWM  = PRE_TASK_STACK_SIZE - (uxTaskGetStackHighWaterMark(xTaskHandle_pre));
  if (preSWM > preTaskStackWM) {
    preTaskStackWM = preSWM;
    uint32_t usage = preTaskStackWM * 100 / PRE_TASK_STACK_SIZE;
    if (usage > STACK_WARNING_THRESHOLD) {
      LOG_WARNING("stack watermark of pre task reached %u%%", usage);
      EVENT_WARNING(EVENT_SX1262_STACK_WM, 0x00010000 | usage);
    } else {
      LOG_INFO("stack watermark of pre task increased to %u%%", usage);
    }
  }
  if (preTaskStackWM > max_wm) {
    max_wm = preTaskStackWM;
  }
#endif /* BOLT_ENABLE */

  unsigned long comSWM  = COM_TASK_STACK_SIZE - (uxTaskGetStackHighWaterMark(xTaskHandle_com));
  if (comSWM > comTaskStackWM) {
    comTaskStackWM = comSWM;
    uint32_t usage = comTaskStackWM * 100 / COM_TASK_STACK_SIZE;
    if (usage > STACK_WARNING_THRESHOLD) {
      LOG_WARNING("stack watermark of com task reached %u%%", usage);
      EVENT_WARNING(EVENT_SX1262_STACK_WM, 0x00020000 | usage);
    } else {
      LOG_INFO("stack watermark of com task increased to %u%%", usage);
    }
  }
  if (comTaskStackWM > max_wm) {
    max_wm = comTaskStackWM;
  }

  unsigned long postSWM = POST_TASK_STACK_SIZE - (uxTaskGetStackHighWaterMark(xTaskHandle_post));
  if (postSWM > postTaskStackWM) {
    postTaskStackWM = postSWM;
    uint32_t usage = postTaskStackWM * 100 / POST_TASK_STACK_SIZE;
    if (usage > STACK_WARNING_THRESHOLD) {
      LOG_WARNING("stack watermark of post task reached %u%%", usage);
      EVENT_WARNING(EVENT_SX1262_STACK_WM, 0x00030000 | usage);
    } else {
      LOG_INFO("stack watermark of post task increased to %u%%", usage);
    }
  }
  if (postTaskStackWM > max_wm) {
    max_wm = postTaskStackWM;
  }

  return max_wm;
}

/* USER CODE END Application */

/************************ (C) COPYRIGHT STMicroelectronics *****END OF FILE****/
